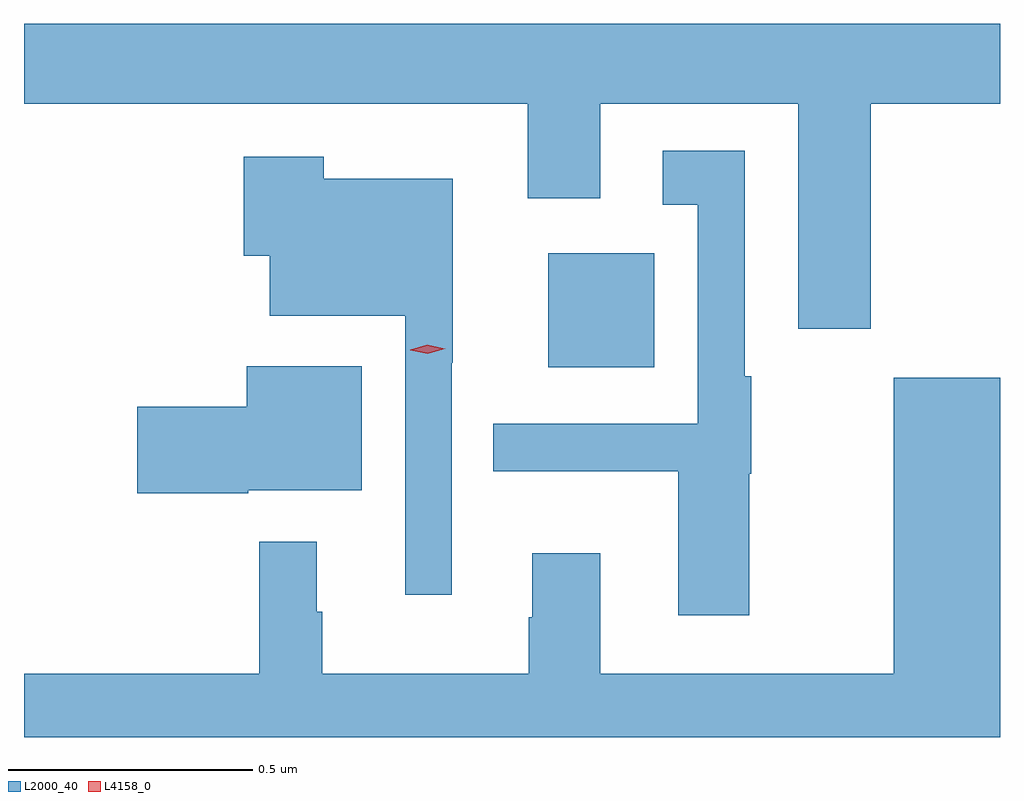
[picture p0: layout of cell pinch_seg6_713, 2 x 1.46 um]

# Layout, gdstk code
import gdstk
lib = gdstk.Library(unit=1e-6, precision=1e-09)
def R(c, l, rs):  # rectangles x0, y0, x1, y1
    for r in rs: c.add(gdstk.rectangle(r[:2], r[2:], *l))
def P(c, l, *ps):  # polygons
    for p in ps: c.add(gdstk.Polygon(p, *l))
L2000_40 = (2000, 40)
L4158_0 = (4158, 0)

pinch_seg6_713 = lib.new_cell('pinch_seg6_713')
R(pinch_seg6_713, L2000_40, [(458.792,953.456,459.01,953.689)])
P(pinch_seg6_713, L2000_40, [(459.453,953.996),(459.718,953.996),(459.718,954.16),(457.718,954.16),(457.718,953.996),(458.75,953.996),(458.75,953.802),(458.899,953.802),(458.899,953.996),(459.305,953.996),(459.305,953.535),(459.453,953.535)],
  [(459.204,953.237),(459.208,953.237),(459.208,953.437),(459.195,953.437),(459.195,953.899),(459.027,953.899),(459.027,953.789),(459.099,953.789),(459.099,953.34),(458.68,953.34),(458.68,953.243),(459.059,953.243),(459.059,952.947),(459.204,952.947)],
  [(458.595,953.465),(458.597,953.465),(458.597,953.842),(458.332,953.842),(458.332,953.887),(458.168,953.887),(458.168,953.684),(458.222,953.684),(458.222,953.561),(458.499,953.561),(458.499,952.989),(458.595,952.989)],
  [(458.178,953.204),(458.41,953.204),(458.41,953.458),(458.174,953.458),(458.174,953.375),(457.95,953.375),(457.95,953.197),(458.178,953.197)],
  [(459.718,953.434),(459.5,953.434),(459.5,952.828),(458.899,952.828),(458.899,953.074),(458.759,953.074),(458.759,952.943),(458.752,952.943),(458.752,952.828),(458.329,952.828),(458.329,952.955),(458.318,952.955),(458.318,953.098),(458.2,953.098),(458.2,952.828),(457.718,952.828),(457.718,952.697),(459.718,952.697)])
P(pinch_seg6_713, L4158_0, [(458.545,953.483),(458.509,953.491),(458.509,953.491),(458.509,953.492),(458.544,953.502),(458.581,953.494),(458.581,953.494),(458.581,953.494)])

lib.write_gds('pinch_seg6_713.gds')
